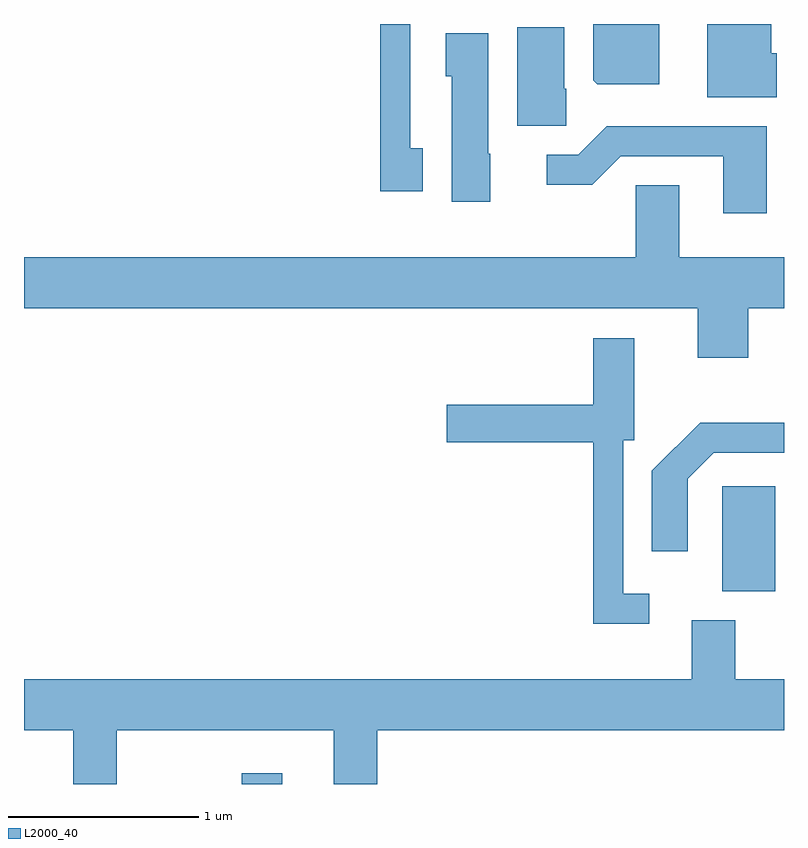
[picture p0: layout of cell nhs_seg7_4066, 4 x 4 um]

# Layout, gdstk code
import gdstk
lib = gdstk.Library(unit=1e-6, precision=1e-09)
def R(c, l, rs):  # rectangles x0, y0, x1, y1
    for r in rs: c.add(gdstk.rectangle(r[:2], r[2:], *l))
def P(c, l, *ps):  # polygons
    for p in ps: c.add(gdstk.Polygon(p, *l))
L2000_40 = (2000, 40)

nhs_seg7_4066 = lib.new_cell('nhs_seg7_4066')
R(nhs_seg7_4066, L2000_40, [(310.756,1716.252,310.969,1716.309), (313.286,1717.266,313.564,1717.819)])
P(nhs_seg7_4066, L2000_40, [(313.574,1720.099),(313.544,1720.099),(313.544,1720.252),(313.206,1720.252),(313.206,1719.866),(313.574,1719.866)],
  [(312.954,1720.252),(312.606,1720.252),(312.606,1719.957),(312.627,1719.936),(312.954,1719.936)],
  [(311.709,1719.599),(311.644,1719.599),(311.644,1720.252),(311.486,1720.252),(311.486,1719.371),(311.709,1719.371)],
  [(312.464,1719.91),(312.454,1719.91),(312.454,1720.234),(312.206,1720.234),(312.206,1719.716),(312.464,1719.716)],
  [(312.064,1719.57),(312.054,1719.57),(312.054,1720.204),(311.831,1720.204),(311.831,1719.976),(311.861,1719.976),(311.861,1719.316),(312.064,1719.316)],
  [(313.519,1719.714),(312.679,1719.714),(312.529,1719.564),(312.363,1719.564),(312.363,1719.406),(312.602,1719.406),(312.752,1719.556),(313.291,1719.556),(313.291,1719.256),(313.519,1719.256)],
  [(313.059,1719.404),(312.831,1719.404),(312.831,1719.024),(309.611,1719.024),(309.611,1718.756),(313.156,1718.756),(313.156,1718.496),(313.424,1718.496),(313.424,1718.756),(313.611,1718.756),(313.611,1719.024),(313.059,1719.024)],
  [(312.903,1717.254),(312.764,1717.254),(312.764,1718.061),(312.824,1718.061),(312.824,1718.599),(312.606,1718.599),(312.606,1718.249),(311.836,1718.249),(311.836,1718.051),(312.606,1718.051),(312.606,1717.096),(312.903,1717.096)],
  [(313.104,1717.859),(313.242,1717.996),(313.611,1717.996),(313.611,1718.154),(313.169,1718.154),(312.916,1717.902),(312.916,1717.476),(313.104,1717.476)],
  [(310.099,1716.536),(311.241,1716.536),(311.241,1716.252),(311.469,1716.252),(311.469,1716.536),(313.611,1716.536),(313.611,1716.804),(313.354,1716.804),(313.354,1717.114),(313.126,1717.114),(313.126,1716.804),(309.611,1716.804),(309.611,1716.536),(309.871,1716.536),(309.871,1716.252),(310.099,1716.252)])

lib.write_gds('nhs_seg7_4066.gds')
